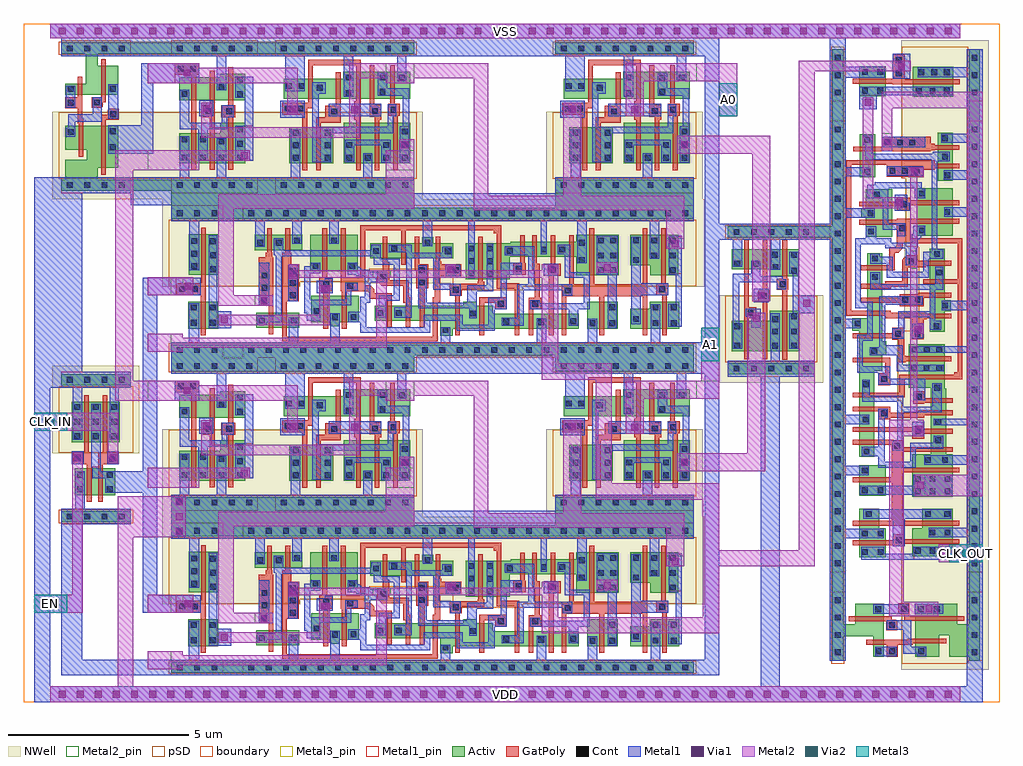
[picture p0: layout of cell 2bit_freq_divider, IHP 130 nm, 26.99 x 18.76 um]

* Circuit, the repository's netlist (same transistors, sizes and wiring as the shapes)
** sch_path: /foss/designs/PROJECTS/cmos-pll-ihp-sg13g2/Combined Design/design_data/xschem/2bit_freq_divider.sch
.SUBCKT 2bit_freq_divider CLK_IN EN A0 A1 CLK_OUT VSS VDD
*.PININFO CLK_IN:I EN:I A0:I A1:I CLK_OUT:O VSS:B VDD:B
x1 VDD VSS nEQ0 net1 CLK net2 DIV_RST A0 freq_div_cell
x2 VDD VSS nEQ1 net2 CLK Cout DIV_RST A1 freq_div_cell
x3 net1 VDD VSS sg13g2_tiehi
* noconn Cout
x4 nEQ0 nEQ1 VDD VSS DIV_RST sg13g2_or2_1
x5 DIV_RST CLK_OUT net3 net3 net4 VDD VSS dff_nclk
x6 net4 VDD VSS sg13g2_tiehi
* noconn CLK_OUT
x7 CLK_IN EN VDD VSS CLK sg13g2_nand2_1
.ENDS

* expanding   symbol:  freq_div_cell.sym # of pins=8
** sym_path: /foss/designs/PROJECTS/cmos-pll-ihp-sg13g2/Combined Design/design_data/xschem/freq_div_cell.sym
** sch_path: /foss/designs/PROJECTS/cmos-pll-ihp-sg13g2/Combined Design/design_data/xschem/freq_div_cell.sch
.SUBCKT freq_div_cell VDD VSS DIV Cin CLK Cout nRST BIT
*.PININFO Cin:I CLK:I nRST:I BIT:I DIV:O Cout:O VSS:B VDD:B
x2 CLK net2 net1 net3 nRST VDD VSS dff_nclk
x3 net2 BIT VDD VSS DIV sg13g2_xor2_1
* noconn #net3
x1 net2 net1 Cin VDD VSS Cout half_add
.ENDS


* expanding   symbol:  dff_nclk.sym # of pins=7
** sym_path: /foss/designs/PROJECTS/cmos-pll-ihp-sg13g2/Combined Design/design_data/xschem/dff_nclk.sym
** sch_path: /foss/designs/PROJECTS/cmos-pll-ihp-sg13g2/Combined Design/design_data/xschem/dff_nclk.sch
.SUBCKT dff_nclk nCLK Q D nQ nRST VDD VSS
*.PININFO nCLK:I D:I nRST:I Q:O nQ:O VSS:B VDD:B
x1 net1 D Q nQ nRST VDD VSS sg13g2_dfrbp_1
x2 nCLK VDD VSS net1 sg13g2_inv_1
.ENDS


* expanding   symbol:  half_add.sym # of pins=6
** sym_path: /foss/designs/PROJECTS/cmos-pll-ihp-sg13g2/Combined Design/design_data/xschem/half_add.sym
** sch_path: /foss/designs/PROJECTS/cmos-pll-ihp-sg13g2/Combined Design/design_data/xschem/half_add.sch
.SUBCKT half_add inB sum inA VDD VSS cout
*.PININFO inA:I inB:I sum:O cout:O VSS:B VDD:B
x1 inA inB VDD VSS sum sg13g2_xor2_1
x2 inA inB VDD VSS cout sg13g2_and2_1
.ENDS

.SUBCKT sg13g2_xor2_1 A B VDD VSS X
*.PININFO A:I B:I X:O VDD:B VSS:B
MX0 net1 A VSS VSS sg13_lv_nmos m=1 w=550.00n l=130.00n ng=1
MX4 X B net3 VSS sg13_lv_nmos m=1 w=740.00n l=130.00n ng=1
MX6 X net1 VSS VSS sg13_lv_nmos m=1 w=740.00n l=130.00n ng=1
MX8 net3 A VSS VSS sg13_lv_nmos m=1 w=740.00n l=130.00n ng=1
MX9 net1 B VSS VSS sg13_lv_nmos m=1 w=550.00n l=130.00n ng=1
MX1 net6 A VDD VDD sg13_lv_pmos m=1 w=1.000u l=130.00n ng=1
MX2 net1 B net6 VDD sg13_lv_pmos m=1 w=1.000u l=130.00n ng=1
MX3 net5 A VDD VDD sg13_lv_pmos m=1 w=1.12e-06 l=130.00n ng=1
MX5 net5 B VDD VDD sg13_lv_pmos m=1 w=1.12e-06 l=130.00n ng=1
MX7 X net1 net5 VDD sg13_lv_pmos m=1 w=1.12e-06 l=130.00n ng=1
.ENDS

.SUBCKT sg13g2_and2_1 A B VDD VSS X
*.PININFO A:I B:I X:O VDD:B VSS:B
MX0 net4 A net2 VSS sg13_lv_nmos m=1 w=640.00n l=130.00n ng=1
MX2 X net4 VSS VSS sg13_lv_nmos m=1 w=740.00n l=130.00n ng=1
MX3 net2 B VSS VSS sg13_lv_nmos m=1 w=640.00n l=130.00n ng=1
MX1 net4 B VDD VDD sg13_lv_pmos m=1 w=840.00n l=130.00n ng=1
MX4 VDD net4 X VDD sg13_lv_pmos m=1 w=1.12e-06 l=130.00n ng=1
MX5 net4 A VDD VDD sg13_lv_pmos m=1 w=840.00n l=130.00n ng=1
.ENDS

.SUBCKT sg13g2_dfrbp_1 CLK D Q Q_N RESET_B VDD VSS
*.PININFO CLK:I D:I RESET_B:I Q:O Q_N:O VDD:B VSS:B
MN13 net12 net2 VSS VSS sg13_lv_nmos m=1 w=420.00n l=130.00n ng=1
MN14 net5 clkneg net12 VSS sg13_lv_nmos m=1 w=420.00n l=130.00n ng=1
MN15 net2 net5 net11 VSS sg13_lv_nmos m=1 w=420.00n l=130.00n ng=1
MN16 net11 RESET_B VSS VSS sg13_lv_nmos m=1 w=420.00n l=130.00n ng=1
MN6 Q_N net5 VSS VSS sg13_lv_nmos m=1 w=740.00n l=130.00n ng=1
MN0 Db D net10 VSS sg13_lv_nmos m=1 w=420.00n l=130.00n ng=1
MN1 net10 RESET_B VSS VSS sg13_lv_nmos m=1 w=420.00n l=130.00n ng=1
MN7 Db clkneg net6 VSS sg13_lv_nmos m=1 w=420.00n l=130.00n ng=1
MN8 net6 clkpos net9 VSS sg13_lv_nmos m=1 w=420.00n l=130.00n ng=1
MN9 net9 net4 net8 VSS sg13_lv_nmos m=1 w=420.00n l=130.00n ng=1
MN10 net8 RESET_B VSS VSS sg13_lv_nmos m=1 w=420.00n l=130.00n ng=1
MN11 net4 net6 VSS VSS sg13_lv_nmos m=1 w=640.00n l=130.00n ng=1
MN2 clkneg CLK VSS VSS sg13_lv_nmos m=1 w=740.00n l=130.00n ng=1
MN12 net4 clkpos net5 VSS sg13_lv_nmos m=1 w=640.00n l=130.00n ng=1
MN3 clkpos clkneg VSS VSS sg13_lv_nmos m=1 w=740.00n l=130.00n ng=1
MN4 Q net1 VSS VSS sg13_lv_nmos m=1 w=740.00n l=130.00n ng=1
MN5 net1 net5 VSS VSS sg13_lv_nmos m=1 w=550.00n l=130.00n ng=1
MP14 net5 clkpos net3 VDD sg13_lv_pmos m=1 w=420.00n l=130.00n ng=1
MP15 net2 net5 VDD VDD sg13_lv_pmos m=1 w=420.00n l=130.00n ng=1
MP16 net2 RESET_B VDD VDD sg13_lv_pmos m=1 w=420.00n l=130.00n ng=1
MP6 Q_N net5 VDD VDD sg13_lv_pmos m=1 w=1.12u l=130.00n ng=1
MP7 Db clkpos net6 VDD sg13_lv_pmos m=1 w=420.00n l=130.00n ng=1
MP0 Db RESET_B VDD VDD sg13_lv_pmos m=1 w=420.00n l=130.00n ng=1
MP1 Db D VDD VDD sg13_lv_pmos m=1 w=420.00n l=130.00n ng=1
MP8 net7 net4 VDD VDD sg13_lv_pmos m=1 w=420.00n l=130.00n ng=1
MP9 net6 clkneg net7 VDD sg13_lv_pmos m=1 w=420.00n l=130.00n ng=1
MP10 net6 RESET_B VDD VDD sg13_lv_pmos m=1 w=420.00n l=130.00n ng=1
MP2 clkneg CLK VDD VDD sg13_lv_pmos m=1 w=1.000u l=130.00n ng=1
MP3 clkpos clkneg VDD VDD sg13_lv_pmos m=1 w=1.000u l=130.00n ng=1
MP11 net4 net6 VDD VDD sg13_lv_pmos m=1 w=1.000u l=130.00n ng=1
MP12 net4 clkneg net5 VDD sg13_lv_pmos m=1 w=1.000u l=130.00n ng=1
MP4 Q net1 VDD VDD sg13_lv_pmos m=1 w=1.12u l=130.00n ng=1
MP13 net3 net2 VDD VDD sg13_lv_pmos m=1 w=420.00n l=130.00n ng=1
MP5 net1 net5 VDD VDD sg13_lv_pmos m=1 w=840.00n l=130.00n ng=1
.ENDS

.SUBCKT sg13g2_inv_1 A VDD VSS Y
*.PININFO A:I Y:O VDD:B VSS:B
MX1 Y A VSS VSS sg13_lv_nmos m=1 w=740.00n l=130.00n ng=1
MX0 Y A VDD VDD sg13_lv_pmos m=1 w=1.12u l=130.00n ng=1
.ENDS

.SUBCKT sg13g2_tiehi L_HI VDD VSS
*.PININFO L_HI:O VDD:B VSS:B
MMN2 net3 net2 VSS VSS sg13_lv_nmos m=1 w=795.00n l=130.00n ng=1
MMN1 net1 net1 VSS VSS sg13_lv_nmos m=1 w=300n l=130.00n ng=1
MMP2 L_HI net3 VDD VDD sg13_lv_pmos m=1 w=1.155u l=130.00n ng=1
MMP1 net2 net1 VDD VDD sg13_lv_pmos m=1 w=660.0n l=130.00n ng=1
.ENDS

.SUBCKT sg13g2_or2_1 A B VDD VSS X
*.PININFO A:I B:I X:O VDD:B VSS:B
MP0 net2 B net3 VDD sg13_lv_pmos m=1 w=840.00n l=130.00n ng=1
MP1 net3 A VDD VDD sg13_lv_pmos m=1 w=840.00n l=130.00n ng=1
MP2 X net2 VDD VDD sg13_lv_pmos m=1 w=1.12e-06 l=130.00n ng=1
MN0 net2 A VSS VSS sg13_lv_nmos m=1 w=550.00n l=130.00n ng=1
MN1 net2 B VSS VSS sg13_lv_nmos m=1 w=550.00n l=130.00n ng=1
MN2 X net2 VSS VSS sg13_lv_nmos m=1 w=740.00n l=130.00n ng=1
.ENDS

.SUBCKT sg13g2_nand2_1 A B VDD VSS Y
*.PININFO A:I B:I Y:O VDD:B VSS:B
MP1 Y B VDD VDD sg13_lv_pmos m=1 w=1.12e-06 l=130.00n ng=1
MP0 Y A VDD VDD sg13_lv_pmos m=1 w=1.12e-06 l=130.00n ng=1
MN1 net1 B VSS VSS sg13_lv_nmos m=1 w=740.00n l=130.00n ng=1
MN0 Y A net1 VSS sg13_lv_nmos m=1 w=740.00n l=130.00n ng=1
.ENDS

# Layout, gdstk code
from math import pi, radians
import gdstk
lib = gdstk.Library(unit=1e-6, precision=1e-09)
def R(c, l, rs):  # rectangles x0, y0, x1, y1
    for r in rs: c.add(gdstk.rectangle(r[:2], r[2:], *l))
def A(c, l, x, y, w, h, nx, ny, dx, dy):  # array of equal rectangles
    R(c, l, [(x+i*dx, y+j*dy, x+i*dx+w, y+j*dy+h) for i in range(nx) for j in range(ny)])
def P(c, l, *ps):  # polygons
    for p in ps: c.add(gdstk.Polygon(p, *l))
Activ = (1, 0)
GatPoly = (5, 0)
Cont = (6, 0)
Metal1 = (8, 0)
Metal1_pin = (8, 2)
Metal2 = (10, 0)
Metal2_pin = (10, 2)
pSD = (14, 0)
Via1 = (19, 0)
Via2 = (29, 0)
Metal3 = (30, 0)
Metal3_pin = (30, 2)
NWell = (31, 0)
boundary = (189, 4)

sg13g2_xor2_1 = lib.new_cell('sg13g2_xor2_1')
R(sg13g2_xor2_1, Activ, [(0,-0.15,3.84,0.15), (1.9,2.06,3.73,3.18), (0.395,2.18,1.6,3.18), (0,3.63,3.84,3.93)])
P(sg13g2_xor2_1, Activ, [(1.88,0.65),(1.88,0.84),(0.235,0.84),(0.235,1.39),(3.73,1.39),(3.73,0.65)])
R(sg13g2_xor2_1, GatPoly, [(3.12,1.535,3.345,1.865)])
P(sg13g2_xor2_1, GatPoly, [(2.61,0.47),(2.61,1.895),(2.75,1.895),(2.75,3.365),(2.88,3.365),(2.88,1.98),(2.94,1.98),(2.94,1.565),(2.74,1.565),(2.74,0.47)],
  [(3.18,0.47),(3.18,1.865),(3.26,1.865),(3.26,3.365),(3.39,3.365),(3.39,1.865),(3.45,1.865),(3.45,1.535),(3.31,1.535),(3.31,0.47)],
  [(1.68,0.66),(1.68,1.58),(1.38,1.58),(1.38,1.91),(1.13,1.91),(1.13,3.365),(1.26,3.365),(1.26,2.06),(1.81,2.06),(1.81,0.66)],
  [(0.915,0.32),(0.915,1.5),(0.2,1.5),(0.2,1.83),(0.755,1.83),(0.755,3.365),(0.885,3.365),(0.885,1.65),(1.045,1.65),(1.045,0.47),(2.24,0.47),(2.24,1.465),(2.19,1.465),(2.19,1.98),(2.24,1.98),(2.24,3.365),(2.37,3.365),(2.37,0.32)])
A(sg13g2_xor2_1, Cont, 0.16, -0.08, 0.16, 0.16, 8, 2, 0.48, 3.78)
A(sg13g2_xor2_1, Cont, 1.97, 2.945, 0.16, 0.16, 4, 1, 0.51, 0)
R(sg13g2_xor2_1, Cont, [(1.95,0.725,2.11,0.885), (2.885,0.725,3.045,0.885), (3.42,0.725,3.58,0.885), (0.305,0.96,0.465,1.12), (0.645,0.96,0.805,1.12), (1.155,1.01,1.315,1.17), (2.885,1.12,3.045,1.28), (1.95,1.16,2.11,1.32), (0.27,1.585,0.43,1.745), (0.61,1.585,0.77,1.745), (3.19,1.62,3.35,1.78), (2.68,1.65,2.84,1.81), (1.55,1.665,1.71,1.825), (3.5,2.22,3.66,2.38), (0.485,2.25,0.645,2.41), (1.37,2.25,1.53,2.41), (1.97,2.59,2.13,2.75), (2.99,2.59,3.15,2.75), (0.485,2.595,0.645,2.755), (3.5,2.595,3.66,2.755), (1.37,2.6,1.53,2.76), (0.485,2.945,0.645,3.105), (1.37,2.945,1.53,3.105)])
R(sg13g2_xor2_1, Metal1, [(0.145,1.45,0.82,1.915), (1.475,1.535,2.93,1.87)])
P(sg13g2_xor2_1, Metal1, [(1.92,2.52),(1.92,3.155),(2.18,3.155),(2.18,2.68),(2.94,2.68),(2.94,3.16),(3.2,3.16),(3.2,2.52)],
  [(0.435,2.23),(0.435,3.56),(0,3.56),(0,4),(3.84,4),(3.84,3.56),(2.69,3.56),(2.69,2.895),(2.43,2.895),(2.43,3.56),(0.695,3.56),(0.695,2.23)],
  [(1.03,0.93),(1.03,3.155),(1.55,3.155),(1.55,2.34),(3.27,2.34),(3.27,1.87),(3.35,1.87),(3.35,1.54),(3.11,1.54),(3.11,2.17),(1.2,2.17),(1.2,1.26),(1.4,1.26),(1.4,0.93)],
  [(0,-0.22),(0,0.22),(0.285,0.22),(0.285,1.18),(0.82,1.18),(0.82,0.22),(1.9,0.22),(1.9,1.34),(2.16,1.34),(2.16,0.22),(3.37,0.22),(3.37,0.905),(3.63,0.905),(3.63,0.22),(3.84,0.22),(3.84,-0.22)],
  [(2.835,0.67),(2.835,1.315),(3.53,1.315),(3.53,2.155),(3.45,2.155),(3.45,3.16),(3.71,3.16),(3.71,1.105),(3.1,1.105),(3.1,0.67)])
R(sg13g2_xor2_1, Metal1_pin, [(0,-0.22,3.84,0.22), (0.145,1.45,0.82,1.915), (1.475,1.535,2.93,1.87), (3.45,2.155,3.71,3.16), (0,3.56,3.84,4)])
R(sg13g2_xor2_1, pSD, [(-0.07,-0.18,3.91,0.18), (-0.07,1.76,3.91,3.6)])
R(sg13g2_xor2_1, NWell, [(-0.24,1.75,4.08,4.17)])
R(sg13g2_xor2_1, boundary, [(0,0,3.84,3.78)])
sg13g2_xor2_1.add(gdstk.Label('X', (3.505,2.635), layer=8, texttype=25))
sg13g2_xor2_1.add(gdstk.Label('VDD', (2.3,3.775), layer=8, texttype=25))
sg13g2_xor2_1.add(gdstk.Label('B', (2.255,1.725), layer=8, texttype=25))
sg13g2_xor2_1.add(gdstk.Label('A', (0.52,1.63), layer=8, texttype=25))
sg13g2_xor2_1.add(gdstk.Label('VSS', (2.09,0.02), layer=8, texttype=25))

sg13g2_and2_1 = lib.new_cell('sg13g2_and2_1')
R(sg13g2_and2_1, Activ, [(0,-0.15,2.4,0.15), (0,3.63,2.4,3.93)])
P(sg13g2_and2_1, Activ, [(1.355,0.7),(1.355,0.8),(0.225,0.8),(0.225,1.44),(2.055,1.44),(2.055,0.7)],
  [(1.355,2.06),(1.355,2.34),(0.225,2.34),(0.225,3.18),(2.055,3.18),(2.055,2.06)])
P(sg13g2_and2_1, GatPoly, [(1.585,0.52),(1.585,1.57),(1.385,1.57),(1.385,1.9),(1.585,1.9),(1.585,3.36),(1.715,3.36),(1.715,1.9),(1.775,1.9),(1.775,1.57),(1.715,1.57),(1.715,0.52)],
  [(0.105,0.41),(0.105,0.73),(0.565,0.73),(0.565,3.36),(0.695,3.36),(0.695,0.73),(0.775,0.73),(0.775,0.41)],
  [(1.075,0.62),(1.075,1.57),(0.875,1.57),(0.875,1.9),(1.075,1.9),(1.075,3.36),(1.205,3.36),(1.205,0.62)])
A(sg13g2_and2_1, Cont, 0.16, -0.08, 0.16, 0.16, 5, 1, 0.48, 0)
A(sg13g2_and2_1, Cont, 0.295, 2.94, 0.16, 0.16, 4, 1, 0.51, 0)
R(sg13g2_and2_1, Cont, [(0.19,0.48,0.35,0.64), (0.53,0.48,0.69,0.64), (1.825,0.795,1.985,0.955), (1.315,0.985,1.475,1.145), (0.295,1.18,0.455,1.34), (1.825,1.185,1.985,1.345), (0.96,1.655,1.12,1.815), (1.53,1.655,1.69,1.815), (1.825,2.155,1.985,2.315), (0.295,2.435,0.455,2.595), (0.805,2.435,0.965,2.595), (1.315,2.495,1.475,2.655), (1.825,2.555,1.985,2.715), (0.16,3.7,0.32,3.86), (0.16,3.7,0.32,3.86), (0.16,3.7,0.32,3.86), (0.64,3.7,0.8,3.86), (0.64,3.7,0.8,3.86), (1.12,3.7,1.28,3.86), (1.12,3.7,1.28,3.86), (1.6,3.7,1.76,3.86), (1.6,3.7,1.76,3.86), (2.08,3.7,2.24,3.86), (2.08,3.7,2.24,3.86)])
R(sg13g2_and2_1, Metal1, [(0.105,0.405,0.78,0.96), (0.78,1.435,1.17,1.87)])
P(sg13g2_and2_1, Metal1, [(0.245,1.14),(0.245,2.24),(0.755,2.24),(0.755,3.11),(1.015,3.11),(1.015,2.24),(1.56,2.24),(1.56,1.9),(1.74,1.9),(1.74,1.57),(1.4,1.57),(1.4,2.05),(0.505,2.05),(0.505,1.14)],
  [(1.775,0.78),(1.775,1.36),(2.04,1.36),(2.04,2.14),(1.775,2.14),(1.775,3.11),(2.275,3.11),(2.275,0.78)],
  [(0.245,2.425),(0.245,3.56),(0,3.56),(0,4),(2.4,4),(2.4,3.56),(1.525,3.56),(1.525,2.485),(1.265,2.485),(1.265,3.56),(0.505,3.56),(0.505,2.425)],
  [(0,-0.22),(0,0.22),(1.265,0.22),(1.265,1.155),(1.525,1.155),(1.525,0.22),(2.4,0.22),(2.4,-0.22)])
R(sg13g2_and2_1, Metal1_pin, [(0,-0.22,2.4,0.22), (0.105,0.405,0.78,0.96), (0.78,1.435,1.17,1.87), (1.775,2.14,2.275,3.11), (0,3.56,2.4,4)])
R(sg13g2_and2_1, pSD, [(-0.07,-0.18,2.47,0.18), (-0.07,1.76,0.55,3.6), (-0.07,1.76,2.47,3.6)])
R(sg13g2_and2_1, NWell, [(-0.24,1.75,2.64,4.17)])
R(sg13g2_and2_1, boundary, [(0,0,2.4,3.78)])
sg13g2_and2_1.add(gdstk.Label('X', (1.995,2.68), layer=8, texttype=25))
sg13g2_and2_1.add(gdstk.Label('VSS', (1.18,0), layer=8, texttype=25))
sg13g2_and2_1.add(gdstk.Label('VDD', (1.275,3.78), layer=8, texttype=25))
sg13g2_and2_1.add(gdstk.Label('B', (0.98,1.655), layer=8, texttype=25))
sg13g2_and2_1.add(gdstk.Label('A', (0.465,0.745), layer=8, texttype=25))

half_add = lib.new_cell('half_add')
R(half_add, Metal1, [(-1.24,-1.09,-0.76,-0.65), (-1.24,2.69,-0.76,3.13)])
R(half_add, Metal2, [(-3.64,-0.465,-2.86,0.09), (1.295,-0.465,2.3,-0.04), (2.3,-0.465,3.08,0.09), (-2.86,-0.34,-0.42,0.09), (-0.42,-0.34,-0.13,0.96), (1.295,-0.04,1.585,1.6), (-2.81,0.64,-2.52,1.6), (-2.52,1.31,1.295,1.6), (2.675,1.64,3.08,1.95), (-3.64,1.95,-2.86,2.505), (-2.86,1.95,-1.47,2.24), (2.3,1.95,3.08,2.505)])
R(half_add, Metal2_pin, [(-3.64,-0.465,-2.86,0.09), (2.3,-0.465,3.08,0.09), (-3.64,1.95,-2.86,2.505), (2.3,1.95,3.08,2.505)])
R(half_add, Via1, [(-3.295,-0.285,-3.105,-0.095), (-2.76,0.69,-2.57,0.88), (-0.37,0.72,-0.18,0.91), (1.345,0.735,1.535,0.925), (2.725,1.695,2.915,1.885), (-1.71,2,-1.52,2.19)])
half_add.add(gdstk.Reference(sg13g2_xor2_1, (-0.76,-0.87)))
half_add.add(gdstk.Reference(sg13g2_and2_1, (-3.64,-0.87)))
half_add.add(gdstk.Label('inA', (-3.25,-0.187), layer=10, texttype=25))
half_add.add(gdstk.Label('inB', (2.69,-0.187), layer=10, texttype=25))
half_add.add(gdstk.Label('sum', (2.69,2.228), layer=10, texttype=25))
half_add.add(gdstk.Label('cout', (-3.25,2.228), layer=10, texttype=25))

sg13g2_inv_1 = lib.new_cell('sg13g2_inv_1')
R(sg13g2_inv_1, Activ, [(0,-0.15,1.44,0.15), (0.475,0.59,1.305,1.33), (0.485,2.075,1.315,3.195), (0,3.63,1.44,3.93)])
P(sg13g2_inv_1, GatPoly, [(0.825,0.41),(0.825,1.52),(0.145,1.52),(0.145,1.85),(0.835,1.85),(0.835,3.375),(0.965,3.375),(0.965,1.52),(0.955,1.52),(0.955,0.41)])
A(sg13g2_inv_1, Cont, 0.56, 2.235, 0.16, 0.16, 1, 3, 0, 0.35)
R(sg13g2_inv_1, Cont, [(0.16,-0.08,0.32,0.08), (0.16,-0.08,0.32,0.08), (0.64,-0.08,0.8,0.08), (0.64,-0.08,0.8,0.08), (1.12,-0.08,1.28,0.08), (1.12,-0.08,1.28,0.08), (0.55,0.67,0.71,0.83), (1.07,0.67,1.23,0.83), (0.55,1.095,0.71,1.255), (1.07,1.095,1.23,1.255), (0.23,1.605,0.39,1.765), (0.585,1.605,0.745,1.765), (1.08,2.155,1.24,2.315), (1.08,2.54,1.24,2.7), (1.075,2.93,1.235,3.09), (0.16,3.7,0.32,3.86), (0.16,3.7,0.32,3.86), (0.64,3.7,0.8,3.86), (0.64,3.7,0.8,3.86), (1.12,3.7,1.28,3.86), (1.12,3.7,1.28,3.86)])
R(sg13g2_inv_1, Metal1, [(1.045,0.595,1.275,3.175), (0.125,1.52,0.815,2)])
P(sg13g2_inv_1, Metal1, [(0.505,2.205),(0.505,3.56),(0,3.56),(0,4),(1.44,4),(1.44,3.56),(0.78,3.56),(0.78,2.205)],
  [(0,-0.22),(0,0.22),(0.485,0.22),(0.485,1.295),(0.785,1.295),(0.785,0.22),(1.44,0.22),(1.44,-0.22)])
R(sg13g2_inv_1, Metal1_pin, [(0,-0.22,1.44,0.22), (1.045,0.595,1.275,3.175), (0.125,1.52,0.815,2), (0,3.56,1.44,4)])
R(sg13g2_inv_1, pSD, [(-0.07,-0.18,1.51,0.18), (-0.07,1.76,1.51,3.6)])
R(sg13g2_inv_1, NWell, [(-0.24,1.75,1.68,4.17)])
R(sg13g2_inv_1, boundary, [(0,0,1.44,3.78)])
sg13g2_inv_1.add(gdstk.Label('Y', (1.17,1.69), layer=8, texttype=25))
sg13g2_inv_1.add(gdstk.Label('A', (0.485,1.76), layer=8, texttype=25))
sg13g2_inv_1.add(gdstk.Label('VSS', (0.72,-0.02), layer=8, texttype=25))
sg13g2_inv_1.add(gdstk.Label('VDD', (0.705,3.78), layer=8, texttype=25))

sg13g2_dfrbp_1 = lib.new_cell('sg13g2_dfrbp_1')
R(sg13g2_dfrbp_1, Activ, [(0,-0.15,12.48,0.15), (9.525,0.59,10.37,1.33), (0.38,0.61,1.56,1.03), (1.865,2.18,3.185,3.18), (0.335,2.76,1.655,3.18), (0,3.63,12.48,3.93)])
P(sg13g2_dfrbp_1, Activ, [(10.725,0.59),(10.725,1.14),(11.265,1.14),(11.265,1.33),(12.075,1.33),(12.075,0.59)],
  [(11.275,2.06),(11.275,2.34),(10.725,2.34),(10.725,3.18),(12.045,3.18),(12.045,2.06)],
  [(6.175,1.955),(6.175,2.955),(7.41,2.955),(7.41,2.995),(9.23,2.995),(9.23,3.18),(10.4,3.18),(10.4,2.06),(9.23,2.06),(9.23,2.575),(7.39,2.575),(7.39,1.955)],
  [(5.46,0.395),(5.46,0.81),(3.66,0.81),(3.66,1.23),(5.71,1.23),(5.71,1.225),(6.095,1.225),(6.095,1.335),(6.48,1.335),(6.48,1.225),(6.91,1.225),(6.91,1.005),(9.295,1.005),(9.295,0.585),(5.805,0.585),(5.805,0.395)],
  [(3.535,2.535),(3.535,2.955),(4.96,2.955),(4.96,3.115),(5.265,3.115),(5.265,2.955),(5.83,2.955),(5.83,2.535)],
  [(2.435,0.65),(2.435,0.765),(1.895,0.765),(1.895,1.505),(3.215,1.505),(3.215,0.765),(2.675,0.765),(2.675,0.65)])
P(sg13g2_dfrbp_1, GatPoly, [(11.605,0.41),(11.605,1.52),(11.44,1.52),(11.44,1.85),(11.575,1.85),(11.575,3.36),(11.705,3.36),(11.705,1.85),(11.77,1.85),(11.77,1.52),(11.735,1.52),(11.735,0.41)],
  [(8.825,0.405),(8.825,1.53),(8.83,1.53),(8.83,1.815),(9.03,1.815),(9.03,3.175),(9.16,3.175),(9.16,1.815),(9.59,1.815),(9.59,3.36),(9.72,3.36),(9.72,1.815),(11.065,1.815),(11.065,3.36),(11.195,3.36),(11.195,0.41),(11.065,0.41),(11.065,1.485),(9.995,1.485),(9.995,0.41),(9.865,0.41),(9.865,1.485),(8.955,1.485),(8.955,0.405)],
  [(8.47,0.405),(8.47,2.055),(8.445,2.055),(8.445,2.385),(8.52,2.385),(8.52,3.175),(8.65,3.175),(8.65,2.385),(8.8,2.385),(8.8,2.055),(8.6,2.055),(8.6,0.405)],
  [(7.91,0.405),(7.91,1.45),(8.08,1.45),(8.08,2.22),(8.01,2.22),(8.01,3.175),(8.14,3.175),(8.14,2.39),(8.21,2.39),(8.21,1.45),(8.26,1.45),(8.26,1.12),(8.04,1.12),(8.04,0.405)],
  [(7.485,2.085),(7.485,2.395),(7.675,2.395),(7.675,3.175),(7.805,3.175),(7.805,2.395),(7.83,2.395),(7.83,2.085)],
  [(7.52,0.405),(7.52,1.695),(7.025,1.695),(7.025,3.225),(6.95,3.225),(6.95,3.315),(4.515,3.315),(4.515,2.355),(4.385,2.355),(4.385,3.315),(3.385,3.315),(3.385,1.79),(3.53,1.79),(3.53,1.78),(3.54,1.78),(3.54,1.77),(3.55,1.77),(3.55,1.76),(3.56,1.76),(3.56,1.75),(3.57,1.75),(3.57,1.74),(3.58,1.74),(3.58,1.73),(3.59,1.73),(3.59,1.72),(3.6,1.72),(3.6,1.71),(3.61,1.71),(3.61,1.7),(3.62,1.7),(3.62,1.69),(3.63,1.69),(3.63,1.68),(3.645,1.68),(3.645,1.57),(4.13,1.57),(4.13,0.63),(4,0.63),(4,1.42),(3.495,1.42),(3.495,1.6),(3.485,1.6),(3.485,1.61),(3.475,1.61),(3.475,1.62),(3.46,1.62),(3.46,1.625),(2.875,1.625),(2.875,0.585),(2.745,0.585),(2.745,1.63),(2.715,1.63),(2.715,3.36),(2.845,3.36),(2.845,1.995),(3.255,1.995),(3.255,3.445),(7.155,3.445),(7.155,1.845),(7.65,1.845),(7.65,0.405)],
  [(6.55,0.405),(6.55,1.455),(7.31,1.455),(7.31,1.12),(6.98,1.12),(6.98,1.305),(6.68,1.305),(6.68,0.405)],
  [(5.88,0.405),(5.88,1.505),(5.73,1.505),(5.73,1.835),(6.5,1.835),(6.5,1.88),(6.515,1.88),(6.515,3.135),(6.645,3.135),(6.645,1.88),(6.68,1.88),(6.68,1.685),(6.06,1.685),(6.06,1.505),(6.01,1.505),(6.01,0.405)],
  [(1.09,0.235),(1.09,2.685),(1.185,2.685),(1.185,3.36),(1.315,3.36),(1.315,2.685),(1.35,2.685),(1.35,2.36),(1.555,2.36),(1.555,1.35),(1.22,1.35),(1.22,0.365),(5.26,0.365),(5.26,1.46),(5.31,1.46),(5.31,2.46),(5.335,2.46),(5.335,3.135),(5.465,3.135),(5.465,2.46),(5.49,2.46),(5.49,2.375),(6.04,2.375),(6.04,2.045),(5.46,2.045),(5.46,1.31),(5.39,1.31),(5.39,0.235)],
  [(4.9,0.63),(4.9,1.705),(4.8,1.705),(4.8,2.225),(4.76,2.225),(4.76,3.135),(4.89,3.135),(4.89,2.375),(5.13,2.375),(5.13,1.705),(5.03,1.705),(5.03,0.63)],
  [(4.51,0.63),(4.51,1.31),(4.44,1.31),(4.44,1.78),(3.84,1.78),(3.84,1.795),(3.83,1.795),(3.83,1.805),(3.82,1.805),(3.82,1.815),(3.81,1.815),(3.81,1.825),(3.8,1.825),(3.8,1.835),(3.79,1.835),(3.79,1.845),(3.78,1.845),(3.78,1.855),(3.77,1.855),(3.77,1.865),(3.76,1.865),(3.76,1.875),(3.75,1.875),(3.75,1.885),(3.74,1.885),(3.74,1.895),(3.73,1.895),(3.73,1.905),(3.72,1.905),(3.72,2.205),(3.875,2.205),(3.875,3.135),(4.005,3.135),(4.005,2.43),(4.05,2.43),(4.05,1.93),(4.59,1.93),(4.59,1.46),(4.64,1.46),(4.64,0.63)],
  [(2.235,0.585),(2.235,1.63),(2.125,1.63),(2.125,1.995),(2.205,1.995),(2.205,3.36),(2.335,3.36),(2.335,1.995),(2.48,1.995),(2.48,1.63),(2.365,1.63),(2.365,0.585)],
  [(0.72,0.43),(0.72,1.22),(0.445,1.22),(0.445,2.57),(0.64,2.57),(0.64,2.685),(0.675,2.685),(0.675,3.36),(0.805,3.36),(0.805,2.685),(0.82,2.685),(0.82,2.57),(0.85,2.57),(0.85,0.43)])
A(sg13g2_dfrbp_1, Cont, 0.16, -0.08, 0.16, 0.16, 26, 2, 0.48, 3.78)
A(sg13g2_dfrbp_1, Cont, 0.525, 1.3, 0.16, 0.16, 1, 3, 0, 0.34)
A(sg13g2_dfrbp_1, Cont, 1.305, 1.43, 0.16, 0.16, 1, 3, 0, 0.34)
R(sg13g2_dfrbp_1, Cont, [(5.53,0.47,5.69,0.63), (9.595,0.66,9.755,0.82), (10.14,0.66,10.3,0.82), (11.845,0.66,12.005,0.82), (11.335,0.665,11.495,0.825), (8.18,0.69,8.34,0.85), (7.21,0.7,7.37,0.86), (9.065,0.715,9.225,0.875), (0.45,0.735,0.61,0.895), (1.33,0.735,1.49,0.895), (10.795,0.775,10.955,0.935), (2.475,0.825,2.635,0.985), (2.985,0.835,3.145,0.995), (6.28,0.93,6.44,1.09), (3.73,0.945,3.89,1.105), (4.24,0.945,4.4,1.105), (1.965,1,2.125,1.16), (10.14,1.1,10.3,1.26), (11.335,1.1,11.495,1.26), (11.845,1.1,12.005,1.26), (7.06,1.2,7.22,1.36), (8.01,1.2,8.17,1.36), (8.91,1.565,9.07,1.725), (5.81,1.585,5.97,1.745), (11.52,1.6,11.68,1.76), (2.895,1.695,3.055,1.855), (2.23,1.745,2.39,1.905), (4.88,1.785,5.04,1.945), (3.8,1.955,3.96,2.115), (6.755,2.025,6.915,2.185), (6.245,2.04,6.405,2.2), (4.88,2.125,5.04,2.285), (5.81,2.125,5.97,2.285), (9.83,2.13,9.99,2.29), (10.17,2.13,10.33,2.29), (11.815,2.13,11.975,2.29), (8.515,2.135,8.675,2.295), (7.555,2.165,7.715,2.325), (1.935,2.25,2.095,2.41), (2.955,2.25,3.115,2.41), (6.755,2.37,6.915,2.53), (6.245,2.38,6.405,2.54), (9.3,2.405,9.46,2.565), (10.795,2.41,10.955,2.57), (9.83,2.535,9.99,2.695), (10.17,2.535,10.33,2.695), (11.305,2.535,11.465,2.695), (11.815,2.535,11.975,2.695), (5.595,2.65,5.755,2.81), (3.605,2.66,3.765,2.82), (7.305,2.665,7.465,2.825), (8.25,2.7,8.41,2.86), (8.76,2.7,8.92,2.86), (4.115,2.725,4.275,2.885), (6.245,2.725,6.405,2.885), (6.755,2.725,6.915,2.885), (0.405,2.885,0.565,3.045), (0.915,2.885,1.075,3.045), (5.03,2.885,5.19,3.045), (9.3,2.885,9.46,3.045), (2.445,2.94,2.605,3.1), (10.795,2.945,10.955,3.105), (1.425,2.95,1.585,3.11), (9.83,2.95,9.99,3.11), (10.17,2.95,10.33,3.11), (11.305,2.95,11.465,3.11), (11.815,2.95,11.975,3.11)])
R(sg13g2_dfrbp_1, Metal1, [(0.44,1.22,0.735,2.415), (1.255,1.35,1.525,2.36), (5.615,2.045,6.015,2.355), (8.325,2.055,8.725,2.385)])
P(sg13g2_dfrbp_1, Metal1, [(2.045,1.575),(2.045,1.915),(2.27,1.915),(2.27,1.985),(2.49,1.985),(2.49,1.575)],
  [(0,-0.22),(0,0.22),(1.28,0.22),(1.28,0.91),(1.54,0.91),(1.54,0.22),(2.425,0.22),(2.425,1.02),(2.685,1.02),(2.685,0.22),(5.48,0.22),(5.48,0.63),(5.74,0.63),(5.74,0.22),(8.13,0.22),(8.13,0.875),(8.39,0.875),(8.39,0.22),(9.545,0.22),(9.545,0.86),(9.805,0.86),(9.805,0.22),(11.285,0.22),(11.285,1.27),(11.545,1.27),(11.545,0.22),(12.48,0.22),(12.48,-0.22)],
  [(6.235,1.99),(6.235,3.56),(5.24,3.56),(5.24,2.875),(4.98,2.875),(4.98,3.56),(2.655,3.56),(2.655,2.94),(2.395,2.94),(2.395,3.56),(1.635,3.56),(1.635,2.935),(1.375,2.935),(1.375,3.56),(0.615,3.56),(0.615,2.86),(0.355,2.86),(0.355,3.56),(0,3.56),(0,4),(12.48,4),(12.48,3.56),(11.515,3.56),(11.515,2.52),(11.255,2.52),(11.255,3.56),(9.51,3.56),(9.51,2.395),(9.25,2.395),(9.25,3.56),(8.415,3.56),(8.415,2.65),(8.245,2.65),(8.245,3.56),(6.415,3.56),(6.415,1.99)],
  [(11.775,0.645),(11.775,1.28),(11.975,1.28),(11.975,2.08),(11.785,2.08),(11.785,3.16),(12.145,3.16),(12.145,0.645)],
  [(10.745,0.705),(10.745,3.135),(11.005,3.135),(11.005,1.85),(11.77,1.85),(11.77,1.52),(11.01,1.52),(11.01,0.705)],
  [(10.09,0.605),(10.09,2.08),(9.79,2.08),(9.79,3.165),(10.38,3.165),(10.38,2.08),(10.35,2.08),(10.35,0.605)],
  [(9.015,0.665),(9.015,1.12),(7.96,1.12),(7.96,1.375),(8.22,1.375),(8.22,1.29),(9.435,1.29),(9.435,1.995),(8.905,1.995),(8.905,2.645),(8.71,2.645),(8.71,2.91),(9.065,2.91),(9.065,2.155),(9.6,2.155),(9.6,1.12),(9.275,1.12),(9.275,0.665)],
  [(7.16,0.67),(7.16,0.885),(7.6,0.885),(7.6,1.815),(7.905,1.815),(7.905,2.615),(7.255,2.615),(7.255,2.875),(8.065,2.875),(8.065,1.815),(9.12,1.815),(9.12,1.5),(8.85,1.5),(8.85,1.645),(7.77,1.645),(7.77,0.67)],
  [(3.25,0.475),(3.25,0.765),(2.92,0.765),(2.92,1.055),(3.25,1.055),(3.25,1.47),(3.37,1.47),(3.37,2.045),(3.14,2.045),(3.14,2.085),(2.905,2.085),(2.905,2.415),(3.165,2.415),(3.165,2.3),(3.225,2.3),(3.225,2.285),(3.245,2.285),(3.245,2.28),(3.25,2.28),(3.25,2.26),(3.275,2.26),(3.275,2.215),(3.515,2.215),(3.515,2.17),(4,2.17),(4,1.875),(3.53,1.875),(3.53,1.31),(3.415,1.31),(3.415,0.635),(5.005,0.635),(5.005,0.97),(6.08,0.97),(6.08,0.695),(6.795,0.695),(6.795,1.45),(7.14,1.45),(7.14,2.415),(7.725,2.415),(7.725,2.085),(7.3,2.085),(7.3,1.12),(6.965,1.12),(6.965,0.53),(5.92,0.53),(5.92,0.81),(5.19,0.81),(5.19,0.475)],
  [(6.265,0.88),(6.265,1.15),(4.86,1.15),(4.86,2.345),(5.095,2.345),(5.095,1.31),(6.215,1.31),(6.215,1.79),(6.745,1.79),(6.745,2.935),(6.925,2.935),(6.925,1.63),(6.48,1.63),(6.48,0.88)],
  [(4.195,0.89),(4.195,1.175),(4.52,1.175),(4.52,2.7),(4.045,2.7),(4.045,2.915),(4.68,2.915),(4.68,2.695),(5.525,2.695),(5.525,2.86),(5.785,2.86),(5.785,2.535),(5.435,2.535),(5.435,1.835),(6.03,1.835),(6.03,1.505),(5.74,1.505),(5.74,1.665),(5.275,1.665),(5.275,2.535),(4.68,2.535),(4.68,0.89)],
  [(0.4,0.685),(0.4,0.95),(0.915,0.95),(0.915,2.625),(0.865,2.625),(0.865,3.095),(1.125,3.095),(1.125,2.755),(3.555,2.755),(3.555,2.91),(3.82,2.91),(3.82,2.52),(4.34,2.52),(4.34,1.355),(3.96,1.355),(3.96,0.895),(3.68,0.895),(3.68,1.155),(3.765,1.155),(3.765,1.515),(4.18,1.515),(4.18,2.36),(3.63,2.36),(3.63,2.595),(1.075,2.595),(1.075,0.76),(0.66,0.76),(0.66,0.685)],
  [(1.775,0.815),(1.775,1.02),(1.705,1.02),(1.705,2.315),(1.885,2.315),(1.885,2.41),(2.145,2.41),(2.145,2.12),(1.865,2.12),(1.865,1.395),(2.835,1.395),(2.835,1.865),(3.19,1.865),(3.19,1.645),(3.01,1.645),(3.01,1.235),(2.145,1.235),(2.145,0.815)])
R(sg13g2_dfrbp_1, Metal1_pin, [(0,-0.22,12.48,0.22), (0.44,1.22,0.735,2.415), (2.045,1.575,2.49,1.915), (9.79,2.08,10.38,3.165), (11.785,2.105,12.145,3.135), (0,3.56,12.48,4)])
P(sg13g2_dfrbp_1, Metal2, [(1.28,1.965),(1.28,2.37),(1.57,2.37),(1.57,2.2),(5.6,2.2),(5.6,2.37),(5.89,2.37),(5.89,2.2),(8.275,2.2),(8.275,2.37),(8.725,2.37),(8.725,2),(1.57,2),(1.57,1.965)])
R(sg13g2_dfrbp_1, Metal2_pin, [(1.28,1.965,1.57,2.37)])
R(sg13g2_dfrbp_1, pSD, [(-0.07,-0.18,12.55,0.18)])
P(sg13g2_dfrbp_1, pSD, [(5.815,1.655),(5.815,2.235),(3.485,2.235),(3.485,1.88),(1.585,1.88),(1.585,1.76),(-0.07,1.76),(-0.07,3.6),(12.55,3.6),(12.55,1.76),(7.745,1.76),(7.745,1.655)])
R(sg13g2_dfrbp_1, Via1, [(1.305,2.015,1.495,2.205), (5.665,2.13,5.855,2.32), (8.44,2.145,8.63,2.335)])
P(sg13g2_dfrbp_1, NWell, [(5.765,1.645),(5.765,1.84),(3.345,1.84),(3.345,1.87),(1.595,1.87),(1.595,1.75),(-0.3,1.75),(-0.3,4.17),(12.78,4.17),(12.78,1.75),(7.755,1.75),(7.755,1.645)])
R(sg13g2_dfrbp_1, boundary, [(0,0,12.48,3.78)])
sg13g2_dfrbp_1.add(gdstk.Label('D', (0.605,1.8), layer=8, texttype=25))
sg13g2_dfrbp_1.add(gdstk.Label('Q_N', (10.08,2.635), layer=8, texttype=25))
sg13g2_dfrbp_1.add(gdstk.Label('CLK', (2.365,1.725), layer=8, texttype=25))
sg13g2_dfrbp_1.add(gdstk.Label('VSS', (5.98,0), layer=8, texttype=25))
sg13g2_dfrbp_1.add(gdstk.Label('VDD', (6.165,3.78), layer=8, texttype=25))
sg13g2_dfrbp_1.add(gdstk.Label('Q', (11.995,2.75), layer=8, texttype=25))
sg13g2_dfrbp_1.add(gdstk.Label('RESET_B', (1.44,2.1), layer=10, texttype=25))

dff_nclk = lib.new_cell('dff_nclk')
R(dff_nclk, Metal1, [(-2.49,-0.64,-1.95,-0.2), (-2.655,0.175,-2.265,0.655), (-2.49,3.14,-1.95,3.58)])
R(dff_nclk, Metal2, [(-2.605,0.27,0.165,0.56), (0.165,0.27,0.465,1.37), (-1.61,0.8,-1.11,1.09), (-3.605,1.09,-3.315,1.59), (7.84,1.71,8.43,2), (9.765,2.375,10.265,2.665)])
R(dff_nclk, Metal2_pin, [(-1.61,0.8,-1.11,1.09), (-3.605,1.09,-3.315,1.59), (1.645,1.58,2.145,1.78), (7.84,1.71,8.43,2), (9.765,2.375,10.265,2.665)])
R(dff_nclk, Via1, [(-2.555,0.32,-2.365,0.51), (-1.455,0.85,-1.265,1.04), (0.225,1.17,0.415,1.36), (-3.555,1.245,-3.365,1.435), (8.04,1.76,8.23,1.95), (9.92,2.425,10.11,2.615)])
dff_nclk.add(gdstk.Reference(sg13g2_inv_1, (-3.93,-0.42)))
dff_nclk.add(gdstk.Reference(sg13g2_dfrbp_1, (-1.95,-0.42)))
dff_nclk.add(gdstk.Label('nRST', (1.895,1.68), layer=10, texttype=25))
dff_nclk.add(gdstk.Label('nCLK', (-3.46,1.34), layer=10, texttype=25))
dff_nclk.add(gdstk.Label('D', (-1.363,0.945), layer=10, texttype=25))
dff_nclk.add(gdstk.Label('nQ', (8.135,1.855), layer=10, texttype=25))
dff_nclk.add(gdstk.Label('Q', (10.015,2.52), layer=10, texttype=25))

freq_div_cell = lib.new_cell('freq_div_cell')
R(freq_div_cell, Metal1, [(15,-6.09,15.3,-5.65), (15.3,-6.09,15.7,2.69), (0.54,-1.87,15,-1.53), (7.26,2.25,11.16,2.69), (15,2.25,15.3,2.69)])
R(freq_div_cell, Metal2, [(-0.1,-5.92,0.865,-5.42), (0.865,-5.815,6.22,-5.525), (6.22,-5.815,6.51,-3.87), (1.85,-4.65,2.86,-4.36), (-0.1,-4.36,0.865,-3.86), (1.85,-4.36,2.27,-1.96), (14.235,-2.785,14.735,-1.6), (8.91,-2,14.235,-1.6), (1.85,-1.96,6.48,-1.56), (6.48,-1.96,7.26,-0.905), (8.91,-1.6,9.31,2.065), (11.39,-1.6,11.89,0.96), (-0.1,-0.905,0.54,-0.35), (14.545,-0.44,15.7,0.06), (13.115,0.595,13.615,2.065), (-0.1,1.51,0.54,2.065), (13.615,1.565,15.7,2.065), (7.26,1.64,8.91,2.065)])
R(freq_div_cell, Metal2_pin, [(-0.1,-5.92,0.54,-5.42), (-0.1,-4.36,0.54,-3.86), (-0.1,-0.905,0.54,-0.35), (15.06,-0.44,15.7,0.06), (-0.1,1.51,0.54,2.065), (15.06,1.565,15.7,2.065)])
R(freq_div_cell, Via1, [(14.645,-0.285,14.835,-0.095), (13.27,0.675,13.46,0.865), (11.545,0.695,11.735,0.885)])
freq_div_cell.add(gdstk.Reference(half_add, (4.18,1.6), x_reflection=True))
freq_div_cell.add(gdstk.Reference(sg13g2_xor2_1, (11.16,2.47), x_reflection=True))
freq_div_cell.add(gdstk.Reference(dff_nclk, (4.47,-5.45)))
freq_div_cell.add(gdstk.Label('Cin', (0.22,1.788), layer=10, texttype=25))
freq_div_cell.add(gdstk.Label('Cout', (0.22,-0.628), layer=10, texttype=25))
freq_div_cell.add(gdstk.Label('CLK', (0.22,-4.11), layer=10, texttype=25))
freq_div_cell.add(gdstk.Label('nRST', (0.22,-5.67), layer=10, texttype=25))
freq_div_cell.add(gdstk.Label('BIT', (15.38,1.815), layer=10, texttype=25))
freq_div_cell.add(gdstk.Label('DIV', (15.38,-0.19), layer=10, texttype=25))

sg13g2_tiehi = lib.new_cell('sg13g2_tiehi')
P(sg13g2_tiehi, Activ, [(0.115,2.145),(0.115,2.805),(0.705,2.805),(0.705,3.075),(0.115,3.075),(0.115,3.63),(0,3.63),(0,3.93),(1.92,3.93),(1.92,3.63),(1.02,3.63),(1.02,3.3),(1.58,3.3),(1.58,2.145)],
  [(0,-0.15),(0,0.15),(0.685,0.15),(0.685,0.975),(0.115,0.975),(0.115,1.275),(1.58,1.275),(1.58,0.48),(1.01,0.48),(1.01,0.15),(1.92,0.15),(1.92,-0.15)])
P(sg13g2_tiehi, GatPoly, [(1.33,1.675),(1.33,1.68),(1.325,1.68),(1.325,1.685),(1.32,1.685),(1.32,1.69),(1.315,1.69),(1.315,1.695),(1.31,1.695),(1.31,1.7),(1.305,1.7),(1.305,1.705),(1.3,1.705),(1.3,1.71),(1.295,1.71),(1.295,1.83),(1.11,1.83),(1.11,3.49),(1.24,3.49),(1.24,1.975),(1.595,1.975),(1.595,1.675)],
  [(0.455,0.785),(0.455,1.355),(0.115,1.355),(0.115,1.655),(0.455,1.655),(0.455,2.065),(0.485,2.065),(0.485,2.995),(0.615,2.995),(0.615,1.935),(0.585,1.935),(0.585,0.785)],
  [(1.105,0.3),(1.105,1.345),(0.845,1.345),(0.845,1.645),(1.11,1.645),(1.11,1.64),(1.115,1.64),(1.115,1.635),(1.12,1.635),(1.12,1.63),(1.125,1.63),(1.125,1.625),(1.13,1.625),(1.13,1.62),(1.135,1.62),(1.135,1.615),(1.14,1.615),(1.14,1.61),(1.145,1.61),(1.145,1.49),(1.235,1.49),(1.235,0.3)])
R(sg13g2_tiehi, Cont, [(0.16,-0.08,0.32,0.08), (0.16,-0.08,0.32,0.08), (0.64,-0.08,0.8,0.08), (0.64,-0.08,0.8,0.08), (1.12,-0.08,1.28,0.08), (1.12,-0.08,1.28,0.08), (1.6,-0.08,1.76,0.08), (1.6,-0.08,1.76,0.08), (1.35,1.035,1.51,1.195), (0.185,1.045,0.345,1.205), (0.915,1.415,1.075,1.575), (0.185,1.425,0.345,1.585), (1.365,1.745,1.525,1.905), (1.35,2.215,1.51,2.375), (0.185,2.23,0.345,2.39), (1.35,2.655,1.51,2.815), (0.16,3.7,0.32,3.86), (0.16,3.7,0.32,3.86), (0.64,3.7,0.8,3.86), (0.64,3.7,0.8,3.86), (1.12,3.7,1.28,3.86), (1.12,3.7,1.28,3.86), (1.6,3.7,1.76,3.86), (1.6,3.7,1.76,3.86)])
R(sg13g2_tiehi, Metal1, [(0,-0.22,1.92,0.22), (1.3,0.985,1.575,1.95), (0.135,1.03,0.395,1.635), (1.3,2.13,1.585,2.91), (0,3.56,1.92,4)])
P(sg13g2_tiehi, Metal1, [(0.87,1.355),(0.87,1.815),(0.195,1.815),(0.195,2.19),(0.135,2.19),(0.135,2.45),(0.395,2.45),(0.395,2.03),(1.12,2.03),(1.12,1.355)])
R(sg13g2_tiehi, Metal1_pin, [(0,-0.22,1.92,0.22), (1.3,2.13,1.585,2.91), (0,3.56,1.92,4)])
R(sg13g2_tiehi, pSD, [(-0.07,-0.18,1.99,0.18), (-0.07,1.76,1.99,3.6)])
R(sg13g2_tiehi, NWell, [(-0.24,1.75,2.16,4.17)])
R(sg13g2_tiehi, boundary, [(0,0,1.92,3.78)])
sg13g2_tiehi.add(gdstk.Label('L_HI', (1.443,2.52), layer=8, texttype=25))
sg13g2_tiehi.add(gdstk.Label('VDD', (0.985,3.785), layer=8, texttype=25))
sg13g2_tiehi.add(gdstk.Label('VSS', (0.94,0), layer=8, texttype=25))

sg13g2_or2_1 = lib.new_cell('sg13g2_or2_1')
R(sg13g2_or2_1, Activ, [(0,-0.15,2.4,0.15), (0,3.63,2.4,3.93)])
P(sg13g2_or2_1, Activ, [(1.16,2.18),(1.16,2.46),(0.11,2.46),(0.11,3.3),(1.99,3.3),(1.99,2.18)],
  [(0.11,0.48),(0.11,1.03),(1.16,1.03),(1.16,1.22),(1.975,1.22),(1.975,0.48)])
R(sg13g2_or2_1, GatPoly, [(0.45,0.22,0.58,2.495), (0.96,0.22,1.09,2.395), (1.505,0.22,1.635,3.53), (1.355,1.29,1.67,1.6), (0.845,1.615,1.145,1.915), (0.48,2.09,0.78,2.39), (0.45,2.36,0.58,3.52), (0.96,2.36,1.09,3.525)])
A(sg13g2_or2_1, Cont, 0.16, -0.08, 0.16, 0.16, 5, 2, 0.48, 3.78)
R(sg13g2_or2_1, Cont, [(1.22,0.55,1.38,0.71), (1.745,0.55,1.905,0.71), (0.18,0.8,0.34,0.96), (0.69,0.8,0.85,0.96), (0.69,0.8,0.85,0.96), (1.235,0.89,1.395,1.05), (1.745,0.99,1.905,1.15), (1.43,1.37,1.59,1.53), (0.915,1.685,1.075,1.845), (0.545,2.16,0.705,2.32), (1.75,2.25,1.91,2.41), (1.23,2.335,1.39,2.495), (0.18,2.53,0.34,2.69), (1.22,2.675,1.38,2.835), (1.75,2.675,1.91,2.835), (0.18,3.07,0.34,3.23), (1.22,3.07,1.38,3.23), (1.22,3.07,1.38,3.23), (1.22,3.07,1.38,3.23), (1.75,3.07,1.91,3.23)])
R(sg13g2_or2_1, Metal1, [(0.715,1.575,1.135,1.945)])
P(sg13g2_or2_1, Metal1, [(1.695,0.55),(1.695,1.15),(1.795,1.15),(1.795,2.25),(1.7,2.25),(1.7,3.23),(1.96,3.23),(1.96,2.25),(1.955,2.25),(1.955,0.55)],
  [(0.64,0.8),(0.64,1.16),(0.13,1.16),(0.13,3.23),(0.39,3.23),(0.39,2.53),(0.315,2.53),(0.315,1.395),(1.355,1.395),(1.355,1.58),(1.615,1.58),(1.615,1.315),(1.52,1.315),(1.52,1.23),(0.9,1.23),(0.9,0.8)],
  [(0.495,2.13),(0.495,2.35),(0.65,2.35),(0.65,2.65),(0.905,2.65),(0.905,2.13)],
  [(0,-0.22),(0,0.22),(0.13,0.22),(0.13,0.96),(0.39,0.96),(0.39,0.22),(1.185,0.22),(1.185,1.05),(1.445,1.05),(1.445,0.22),(2.4,0.22),(2.4,-0.22)],
  [(1.17,2.25),(1.17,3.23),(1.18,3.23),(1.18,3.56),(0,3.56),(0,4),(2.4,4),(2.4,3.56),(1.44,3.56),(1.44,2.25)])
R(sg13g2_or2_1, Metal1_pin, [(0,-0.22,2.4,0.22), (1.795,1.15,1.955,2.25), (0.715,1.575,1.135,1.945), (0.65,2.13,0.905,2.65), (0,3.56,2.4,4)])
R(sg13g2_or2_1, pSD, [(-0.07,-0.18,2.47,0.18), (-0.07,1.76,2.47,3.6)])
R(sg13g2_or2_1, NWell, [(-0.24,1.75,2.64,4.17)])
R(sg13g2_or2_1, boundary, [(0,0,2.4,3.78)])
sg13g2_or2_1.add(gdstk.Label('A', (0.925,1.755), layer=8, texttype=25))
sg13g2_or2_1.add(gdstk.Label('VSS', (1.3,0), layer=8, texttype=25))
sg13g2_or2_1.add(gdstk.Label('B', (0.785,2.395), layer=8, texttype=25))
sg13g2_or2_1.add(gdstk.Label('X', (1.88,1.745), layer=8, texttype=25))
sg13g2_or2_1.add(gdstk.Label('VDD', (1.22,3.78), layer=8, texttype=25))

sg13g2_nand2_1 = lib.new_cell('sg13g2_nand2_1')
R(sg13g2_nand2_1, Activ, [(0,-0.15,1.92,0.15), (0.375,0.59,1.495,1.33), (0.3,2.06,1.62,3.18), (0,3.63,1.92,3.93)])
P(sg13g2_nand2_1, GatPoly, [(0.715,0.41),(0.715,1.44),(0.33,1.44),(0.33,1.77),(0.64,1.77),(0.64,3.36),(0.77,3.36),(0.77,1.77),(0.845,1.77),(0.845,0.41)],
  [(1.025,0.41),(1.025,1.77),(1.15,1.77),(1.15,3.36),(1.28,3.36),(1.28,1.77),(1.56,1.77),(1.56,1.44),(1.155,1.44),(1.155,0.41)])
A(sg13g2_nand2_1, Cont, 0.37, 2.14, 0.16, 0.16, 3, 2, 0.51, 0.4)
A(sg13g2_nand2_1, Cont, 0.37, 2.95, 0.16, 0.16, 3, 1, 0.51, 0)
R(sg13g2_nand2_1, Cont, [(0.16,-0.08,0.32,0.08), (0.16,-0.08,0.32,0.08), (0.64,-0.08,0.8,0.08), (0.64,-0.08,0.8,0.08), (1.12,-0.08,1.28,0.08), (1.12,-0.08,1.28,0.08), (1.6,-0.08,1.76,0.08), (1.6,-0.08,1.76,0.08), (0.445,0.67,0.605,0.83), (1.265,0.67,1.425,0.83), (0.445,1.065,0.605,1.225), (1.265,1.065,1.425,1.225), (1.33,1.51,1.49,1.67), (0.4,1.525,0.56,1.685), (0.16,3.7,0.32,3.86), (0.16,3.7,0.32,3.86), (0.64,3.7,0.8,3.86), (0.64,3.7,0.8,3.86), (1.12,3.7,1.28,3.86), (1.12,3.7,1.28,3.86), (1.6,3.7,1.76,3.86), (1.6,3.7,1.76,3.86)])
R(sg13g2_nand2_1, Metal1, [(0.29,1.44,0.62,1.81), (1.27,1.44,1.6,1.81)])
P(sg13g2_nand2_1, Metal1, [(0.32,2.125),(0.32,3.56),(0,3.56),(0,4),(1.92,4),(1.92,3.56),(1.6,3.56),(1.6,2.125),(1.34,2.125),(1.34,3.56),(0.58,3.56),(0.58,2.125)],
  [(0,-0.22),(0,0.22),(0.395,0.22),(0.395,1.245),(0.655,1.245),(0.655,0.22),(1.92,0.22),(1.92,-0.22)],
  [(1.215,0.655),(1.215,1.06),(0.86,1.06),(0.86,1.365),(0.83,1.365),(0.83,3.125),(1.09,3.125),(1.09,1.245),(1.475,1.245),(1.475,0.655)])
R(sg13g2_nand2_1, Metal1_pin, [(0,-0.22,1.92,0.22), (0.83,1.365,1.09,3.125), (0.29,1.44,0.62,1.81), (1.27,1.44,1.6,1.81), (0,3.56,1.92,4)])
R(sg13g2_nand2_1, pSD, [(-0.07,-0.18,1.99,0.18), (-0.07,1.76,1.99,3.6)])
R(sg13g2_nand2_1, NWell, [(-0.24,1.75,2.16,4.17)])
R(sg13g2_nand2_1, boundary, [(0,0,1.92,3.78)])
sg13g2_nand2_1.add(gdstk.Label('Y', (0.97,2.21), layer=8, texttype=25))
sg13g2_nand2_1.add(gdstk.Label('VDD', (0.97,3.78), layer=8, texttype=25))
sg13g2_nand2_1.add(gdstk.Label('A', (1.435,1.63), layer=8, texttype=25))
sg13g2_nand2_1.add(gdstk.Label('VSS', (0.99,0), layer=8, texttype=25))
sg13g2_nand2_1.add(gdstk.Label('B', (0.45,1.62), layer=8, texttype=25))

c_2bit_freq_divider = lib.new_cell('2bit_freq_divider')
R(c_2bit_freq_divider, Activ, [(-3.515,-10.66,-2.975,-10.36), (13.335,-8.41,13.635,-7.87), (17.115,-8.41,17.415,-7.87), (-4.955,-6.88,1.765,-5.8), (5.665,-6.58,9.505,-6.1), (-4.955,-2.32,1.765,-1.58), (5.665,-2.02,9.505,-1.88), (12.845,1.385,13.335,1.685), (-4.955,1.9,1.765,2.98), (5.665,2.2,9.505,2.68), (-6.075,2.68,-4.955,2.98), (13.335,4.61,13.635,5.15), (17.115,4.61,17.415,5.15), (-6.075,6.46,-4.955,6.76), (-2.555,6.46,-2.075,6.76)])
R(c_2bit_freq_divider, Metal1, [(-8.735,-11.47,-8.295,3.05), (-8.295,-11.47,17.045,-11.03), (17.045,-11.47,17.485,-10.33), (11.35,-11.03,11.885,-2.465), (-7.995,-10.73,-7.415,-6.555), (-7.415,-10.73,-4.955,-10.29), (-5.735,-8.99,-5.33,0.27), (-5.33,-8.99,-4.83,-8.51), (13.265,-8.41,13.705,-7.87), (17.045,-8.41,17.485,-7.87), (-6.52,-5.68,-5.735,-5.09), (-8.295,-2.775,-7.995,3.05), (-7.995,-2.335,-7.415,2.61), (12.4,-0.715,12.845,-0.22), (-5.33,-0.21,-4.83,0.27), (10.205,1.315,10.445,1.755), (12.845,1.315,13.265,1.755), (-6.075,2.27,-4.955,3.05), (-6.41,3.7,-5.775,4.48), (-5.775,3.7,-5.445,6.205), (-5.445,5.65,-4.85,6.205), (-6.075,6.39,-4.955,6.83), (13.265,6.59,13.705,6.89), (-7.995,6.83,10.205,6.89), (-8.295,6.89,16.865,7.29)])
R(c_2bit_freq_divider, Metal2, [(-8.295,-11.47,16.865,-11.03), (-6.435,-11.03,-5.995,-6.905), (5.3,-9.565,5.75,-8.51), (5.75,-9.565,10.205,-9.115), (9.755,-9.115,10.205,-5.865), (14.905,-9.09,16.265,-8.69), (-8.735,-9,-7.39,-8.5), (14.905,-8.69,15.305,-4.115), (-7.69,-8.5,-7.39,-4.555), (10.205,-7.715,12.4,-7.265), (12.4,-7.715,12.85,6.265), (16.57,-7.605,17.485,-7.105), (-6.435,-6.905,-4.55,-5.775), (6.785,-5.865,7.235,-2.55), (7.235,-5.865,10.205,-5.415), (15.905,-5.77,17.045,-5.18), (17.045,-5.77,17.485,4.96), (10.205,-5.08,10.975,-4.58), (10.975,-5.08,11.475,-0.7), (-6.71,-4.86,-6.41,-3.97), (14.905,-4.115,15.485,-3.665), (-8.735,-3.97,-6.41,-3.47), (-6.495,-3.13,-5.595,-2.575), (-6.495,-2.575,-5.995,3.235), (9.705,-2.575,10.205,-1.12), (5.3,-2.55,7.235,-2.1), (5.3,-2.1,5.75,0.27), (11.12,-0.38,11.62,4.2), (-6.495,3.235,-5.595,3.79), (10.205,3.7,11.12,4.2), (14.705,4.27,14.995,5.41), (10.205,4.735,10.705,6.205), (14.995,4.96,17.485,5.41), (12.85,5.975,14.995,6.265), (-8.295,6.89,16.865,7.29)])
R(c_2bit_freq_divider, Metal2_pin, [(-8.295,-11.47,16.865,-11.03), (-8.295,6.89,16.865,7.29)])
R(c_2bit_freq_divider, pSD, [(-3.445,-10.69,-3.045,-10.33), (-3.445,-8.75,-3.045,-6.91), (13.305,-8.34,13.665,-7.94), (15.245,-8.34,17.085,-7.94), (-2.485,-5.77,-2.145,-3.93), (-5.025,-2.35,1.835,-1.55), (5.595,-1.99,9.575,-1.91), (-3.445,0.03,-3.045,1.87), (12.915,1.355,13.305,1.715), (-6.005,3.01,-5.025,4.85), (-2.485,3.01,-2.145,4.85), (13.305,4.68,13.665,5.08), (15.245,4.68,17.085,5.08), (-6.005,6.43,-5.025,6.79), (-2.485,6.43,-2.145,6.79)])
A(c_2bit_freq_divider, Via1, -8.06, -11.345, 0.19, 0.19, 50, 2, 0.5, 18.34)
A(c_2bit_freq_divider, Via1, -4.825, -6.845, 0.19, 0.19, 1, 3, 0, 0.41)
R(c_2bit_freq_divider, Via1, [(15.91,-8.98,16.1,-8.79), (-7.635,-4.805,-7.445,-4.615), (-6.655,-4.805,-6.465,-4.615), (11.13,-0.95,11.32,-0.76), (12.53,-0.535,12.72,-0.345), (11.275,-0.32,11.465,-0.13)])
R(c_2bit_freq_divider, Via2, [(-8.37,-8.845,-8.18,-8.655), (16.93,-7.45,17.12,-7.26), (-8.37,-3.815,-8.18,-3.625), (9.86,-1.67,10.05,-1.48), (10.36,5.1,10.55,5.29)])
R(c_2bit_freq_divider, Metal3, [(-8.735,-9,-7.82,-8.5), (16.57,-7.605,17.485,-7.105), (-8.735,-3.97,-7.82,-3.47), (9.705,-2.035,10.205,-1.12), (10.205,4.735,10.705,5.65)])
R(c_2bit_freq_divider, Metal3_pin, [(-8.735,-9,-7.82,-8.5), (16.57,-7.605,17.485,-7.105), (-8.735,-3.97,-7.82,-3.47), (9.705,-2.035,10.205,-1.12), (10.205,4.735,10.705,5.65)])
R(c_2bit_freq_divider, NWell, [(-5.835,2.44,-5.195,4.86)])
R(c_2bit_freq_divider, boundary, [(-9.035,-11.47,17.955,7.29)])
c_2bit_freq_divider.add(gdstk.Reference(freq_div_cell, (-5.495,4.14)))
c_2bit_freq_divider.add(gdstk.Reference(sg13g2_tiehi, (-7.995,6.61), x_reflection=True))
c_2bit_freq_divider.add(gdstk.Reference(sg13g2_or2_1, (10.445,1.535), x_reflection=True))
c_2bit_freq_divider.add(gdstk.Reference(sg13g2_nand2_1, (-7.995,-6.335)))
c_2bit_freq_divider.add(gdstk.Reference(dff_nclk, (13.905,2.66), rotation=3*pi/2))
c_2bit_freq_divider.add(gdstk.Reference(freq_div_cell, (-5.495,-4.64)))
c_2bit_freq_divider.add(gdstk.Reference(sg13g2_tiehi, (13.485,-10.33), rotation=pi/2, x_reflection=True))
c_2bit_freq_divider.add(gdstk.Label('VSS', (4.285,7.09), layer=10, texttype=25))
c_2bit_freq_divider.add(gdstk.Label('VDD', (4.285,-11.25), layer=10, texttype=25))
c_2bit_freq_divider.add(gdstk.Label('CLK_OUT', (17.02,-7.355), layer=30, texttype=25))
c_2bit_freq_divider.add(gdstk.Label('A1', (9.955,-1.59), layer=30, texttype=25))
c_2bit_freq_divider.add(gdstk.Label('CLK_IN', (-8.29,-3.72), layer=30, texttype=25))
c_2bit_freq_divider.add(gdstk.Label('EN', (-8.285,-8.75), layer=30, texttype=25))
c_2bit_freq_divider.add(gdstk.Label('A0', (10.455,5.185), layer=30, texttype=25))

lib.write_gds('2bit_freq_divider.gds')
